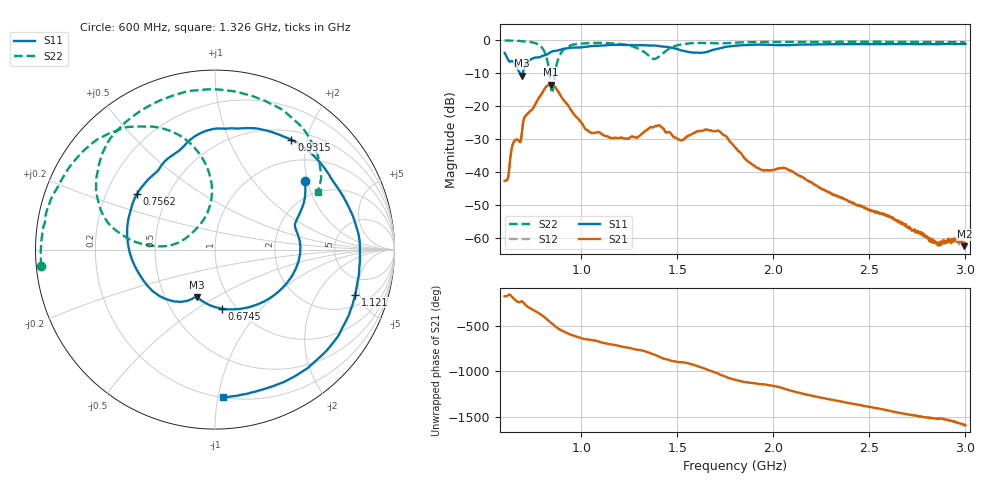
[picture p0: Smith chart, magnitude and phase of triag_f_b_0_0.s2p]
#  HZ  S  RI  R  50.00
! Rohde & Schwarz ZVB8 2Ports - Version 2.81 - 1145.1010k08 SN: 100113
! Date: 2016-05-03 01:37:37
! Measurements: S11 S21 S12 S22
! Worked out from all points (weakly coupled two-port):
!   1000 points, 600 MHz to 3 GHz, reference 50 ohm
!   highest |S21| = -13.64 dB at 842.6 MHz (marker M1); lowest = -62.6 dB at 2.995 GHz (marker M2)
!   lowest |S11| = -10.9 dB at 688.9 MHz (marker M3), VSWR 1.80, Z = 35.7 - j20.7 ohm
!   |S11| at or under -10 dB: 678.1 MHz to 695.2 MHz (17.06 MHz wide, 2.49 % of centre)
!   |S22| runs from -16.2 to -0.2 dB; largest |S21 - S12| = 0.0017
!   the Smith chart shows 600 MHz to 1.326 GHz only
!   S11 on the Smith chart (normalised r, x): 600 MHz: 1.54, +1.93; 674.5 MHz: 0.86, -0.63; 756.2 MHz: 0.33, +0.29; 931.5 MHz: 0.63, +1.74; 1.121 GHz: 2.94, -4.54; 1.326 GHz: 0.20, -1.04
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6e8  0.5016 0.38  -0.00727 -1.25e-05  -0.00731 -1.49e-05  -0.9689 -0.093
6.456456e8  0.4499 -0.1072  -0.0254 0.0104  -0.0254 0.0103  -0.9573 0.1212
6.744745e8  0.0366 -0.3285  -0.0119 0.0266  -0.0119 0.0266  -0.9249 0.2531
6.888889e8  -0.1024 -0.2662  -0.0218 0.0299  -0.0222 0.0297  -0.8932 0.3202
7.561562e8  -0.434 0.3104  0.0929 0.0392  0.0923 0.04  -0.6437 0.6199
8.042042e8  -0.2395 0.5243  0.1277 -0.1173  0.1275 -0.1169  -0.2222 0.6488
8.426426e8  -0.0795 0.6494  -0.0765 -0.1935  -0.076 -0.1932  -0.0613 0.1691
8.714715e8  0.0971 0.6759  -0.1681 -0.0565  -0.1677 -0.057  -0.4254 0.0371
9.315315e8  0.4258 0.6119  -0.0657 0.0759  -0.0659 0.0754  -0.6524 0.4452
1.001201e9  0.6838 0.3444  0.00983 0.0538  0.00948 0.0538  -0.4473 0.7497
1.121321e9  0.782 -0.2513  0.0311 0.0162  0.0313 0.0162  0.0547 0.8881
1.325526e9  0.0459 -0.8213  0.0212 -0.0338  0.0213 -0.0336  0.572 0.3209
1.4e9  -0.2828 -0.7535  -0.0215 -0.0453  -0.0215 -0.0454  0.4332 0.3277
1.572973e9  -0.5702 -0.293  -0.0339 0.0144  -0.0339 0.0142  0.8832 -0.0593
1.801201e9  -0.7749 0.2356  0.0225 -0.00578  0.0224 -0.00567  0.4889 -0.7545
2.000601e9  -0.2712 0.785  0.00183 -0.0105  0.00183 -0.0105  -0.124 -0.9164
2.2e9  0.4551 0.7117  -0.00677 0.000915  -0.0068 0.000958  -0.6274 -0.6864
2.401802e9  0.858 -0.00121  0.000134 0.0035  0.000103 0.00346  -0.8928 -0.2622
2.601201e9  0.4801 -0.7128  0.00211 0.000327  0.00205 0.000391  -0.9102 0.1908
2.783784e9  -0.1957 -0.8358  0.000458 -0.000939  0.000559 -0.00091  -0.7299 0.5659
2.995195e9  -0.7677 -0.3937  -0.000618 -0.000416  -0.000651 -0.000371  -0.3444 0.8455
3e9  -0.7734 -0.3797  -0.000705 -0.000413  -0.000663 -0.000362  -0.3313 0.8501
